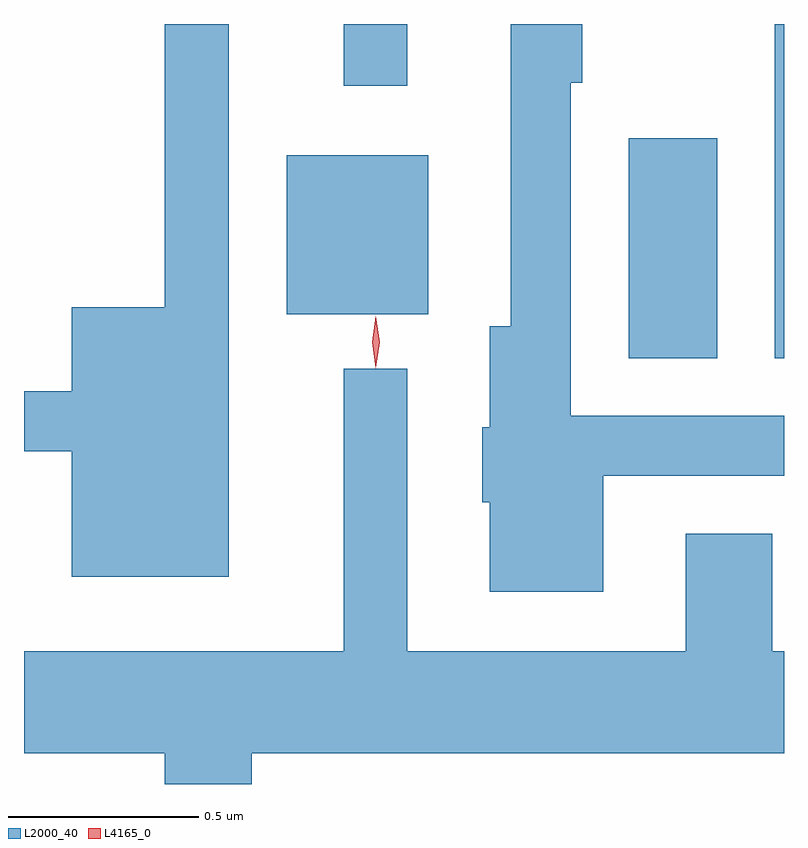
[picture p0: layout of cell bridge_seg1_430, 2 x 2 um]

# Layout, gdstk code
import gdstk
lib = gdstk.Library(unit=1e-6, precision=1e-09)
def R(c, l, rs):  # rectangles x0, y0, x1, y1
    for r in rs: c.add(gdstk.rectangle(r[:2], r[2:], *l))
def P(c, l, *ps):  # polygons
    for p in ps: c.add(gdstk.Polygon(p, *l))
L2000_40 = (2000, 40)
L4165_0 = (4165, 0)

bridge_seg1_430 = lib.new_cell('bridge_seg1_430')
R(bridge_seg1_430, L2000_40, [(329.611,942.796,329.844,943.374), (329.996,942.796,330.02,943.675), (328.711,942.911,329.084,943.329), (328.861,943.513,329.029,943.675)])
P(bridge_seg1_430, L2000_40, [(328.559,943.675),(328.391,943.675),(328.391,942.929),(328.146,942.929),(328.146,942.709),(328.02,942.709),(328.02,942.551),(328.146,942.551),(328.146,942.221),(328.559,942.221)],
  [(329.544,942.486),(330.02,942.486),(330.02,942.644),(329.459,942.644),(329.459,943.521),(329.489,943.521),(329.489,943.675),(329.301,943.675),(329.301,942.879),(329.246,942.879),(329.246,942.614),(329.226,942.614),(329.226,942.416),(329.246,942.416),(329.246,942.181),(329.544,942.181)],
  [(328.619,941.756),(330.02,941.756),(330.02,942.024),(329.989,942.024),(329.989,942.334),(329.761,942.334),(329.761,942.024),(329.029,942.024),(329.029,942.768),(328.861,942.768),(328.861,942.024),(328.02,942.024),(328.02,941.756),(328.391,941.756),(328.391,941.675),(328.619,941.675)])
P(bridge_seg1_430, L4165_0, [(328.945,942.773),(328.945,942.773),(328.936,942.837),(328.945,942.901),(328.946,942.902),(328.946,942.901),(328.956,942.837),(328.946,942.773)],
  [(328.946,942.769),(328.945,942.77),(328.936,942.837),(328.945,942.906),(328.946,942.906),(328.946,942.906),(328.956,942.837),(328.946,942.77)])

lib.write_gds('bridge_seg1_430.gds')
